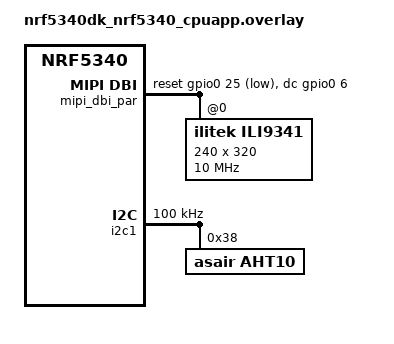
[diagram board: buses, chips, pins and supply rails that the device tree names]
&i2c1_default {
  group1 {
    psels = <NRF_PSEL(TWIM_SDA, 0, 12)>,
      <NRF_PSEL(TWIM_SCL, 0, 19)>;
  };
};

&i2c1_sleep {
  group1 {
    psels = <NRF_PSEL(TWIM_SDA, 0, 12)>,
      <NRF_PSEL(TWIM_SCL, 0, 19)>;
    low-power-enable;
  };
};

&i2c1 {
  status = "okay";
  clock-frequency = <100000>;
  pinctrl-0 = <&i2c1_default>;
  pinctrl-1 = <&i2c1_sleep>;

  aht10: aht10@38 {
    compatible = "asair,aht10";
    reg = <0x38>;
  };
};

/ {
  chosen {
    zephyr,display = &ili9341;
  };
};

/ {
  mipi_dbi_par: mipi-dbi-parallel {
    compatible = "zephyr,mipi-dbi-bitbang";
    /*
     * lcdwiki/MCUFRIEND 2.4" ILI9341 shield (nRF5340 DK Arduino header):
     *   A0=P0.04 → RD      A1=P0.05 → WR
     *   A2=P0.06 → RS/DC   A3=P0.07 → CS (active-low)
     *   A4=P0.25 → RST     (active-low)
     */
    reset-gpios = <&gpio0 25 GPIO_ACTIVE_LOW>;    /* A4 = RST   */
    cs-gpios    = <&gpio0 7  GPIO_ACTIVE_LOW>;    /* A3 = CS    */
    dc-gpios    = <&gpio0 6  GPIO_ACTIVE_HIGH>;   /* A2 = RS/DC */
    wr-gpios    = <&gpio0 5  GPIO_ACTIVE_HIGH>;  /* A1 = WR    */
    rd-gpios    = <&gpio0 4  GPIO_ACTIVE_HIGH>;  /* A0 = RD    */
    /*
     * MCUFRIEND wiring: DB0→D8, DB1→D9, DB2→D2 … DB7→D7
     * (data-gpios[i] → bit i of the byte → DBi of controller)
     *   DB0=D8=P1.10  DB1=D9=P1.11  DB2=D2=P1.4  DB3=D3=P1.5
     *   DB4=D4=P1.6   DB5=D5=P1.7   DB6=D6=P1.8  DB7=D7=P1.9
     */
    data-gpios  = <&gpio1 10 GPIO_ACTIVE_HIGH>,   /* DB0 = D8 */
                  <&gpio1 11 GPIO_ACTIVE_HIGH>,   /* DB1 = D9 */
                  <&gpio1  4 GPIO_ACTIVE_HIGH>,   /* DB2 = D2 */
                  <&gpio1  5 GPIO_ACTIVE_HIGH>,   /* DB3 = D3 */
                  <&gpio1  6 GPIO_ACTIVE_HIGH>,   /* DB4 = D4 */
                  <&gpio1  7 GPIO_ACTIVE_HIGH>,   /* DB5 = D5 */
                  <&gpio1  8 GPIO_ACTIVE_HIGH>,   /* DB6 = D6 */
                  <&gpio1  9 GPIO_ACTIVE_HIGH>;   /* DB7 = D7 */
    #address-cells = <1>;
    #size-cells    = <0>;

    ili9341: ili9341@0 {
      compatible        = "ilitek,ili9341";
      reg               = <0>;
      mipi-mode         = "MIPI_DBI_MODE_8080_BUS_8_BIT";
      mipi-max-frequency = <10000000>;
      pixel-format      = <0>; /* 0 = RGB565 */
      width             = <240>;
      height            = <320>;
    };
  };
};
